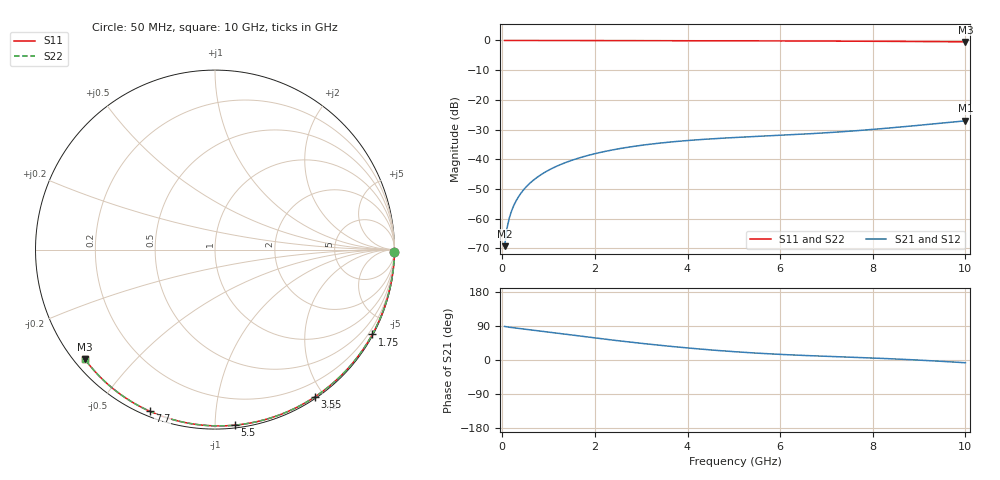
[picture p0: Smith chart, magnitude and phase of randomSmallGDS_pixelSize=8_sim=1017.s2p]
! freq	dB(S11)	phase(S11)	dB(S12)	phase(S12)
!  dB(S21)	phase(S21)	dB(S22)	phase(S22)
!S-par simulation data
#  GHz  S  DB  R 50
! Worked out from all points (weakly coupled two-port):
!   200 points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, 50 MHz to 10 GHz, reference 50 ohm
!   highest |S21| = -27.06 dB at 10 GHz (marker M1); lowest = -69.3 dB at 50 MHz (marker M2)
!   lowest |S11| = -0.5 dB at 10 GHz (marker M3), VSWR 37.32, Z = 1.52 - j18.2 ohm
!   |S11| at or under -10 dB: nowhere
!   |S22| runs from -0.5 to 0.0 dB; largest |S21 - S12| = 0
!   S11 on the Smith chart (normalised r, x): 50 MHz: open; 1.75 GHz: 0.03, -3.96; 3.55 GHz: 0.02, -1.88; 5.5 GHz: 0.02, -1.12; 7.7 GHz: 0.02, -0.67; 10 GHz: 0.03, -0.36
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0.05  -0.00 -0.8  -69.26 88.5  -69.26 88.5  -0.00 -0.8
0.1  -0.00 -1.6  -63.31 87.4  -63.31 87.4  -0.00 -1.6
0.15  -0.00 -2.5  -59.85 86.5  -59.85 86.5  -0.00 -2.5
0.2  -0.00 -3.3  -57.40 85.7  -57.40 85.7  -0.00 -3.3
0.25  -0.00 -4.1  -55.50 85.0  -55.50 85.0  -0.00 -4.1
0.35  -0.00 -5.8  -52.62 83.5  -52.62 83.5  -0.00 -5.8
0.5  -0.01 -8.2  -49.56 81.3  -49.56 81.3  -0.01 -8.2
0.7  -0.01 -11.5  -46.69 78.2  -46.69 78.2  -0.01 -11.5
1  -0.02 -16.3  -43.68 73.5  -43.68 73.5  -0.02 -16.3
1.35  -0.03 -22.0  -41.20 68.0  -41.20 68.0  -0.03 -22.0
1.75  -0.04 -28.3  -39.14 61.9  -39.14 61.9  -0.04 -28.3
2.5  -0.05 -40.1  -36.51 50.9  -36.51 50.9  -0.05 -40.1
3.4  -0.07 -53.7  -34.56 38.9  -34.56 38.9  -0.07 -53.8
3.55  -0.08 -56.0  -34.31 37.0  -34.31 37.0  -0.08 -56.0
4.3  -0.10 -66.9  -33.35 28.6  -33.35 28.6  -0.10 -66.9
5.05  -0.12 -77.5  -32.65 21.6  -32.65 21.6  -0.12 -77.5
5.5  -0.14 -83.6  -32.30 18.1  -32.30 18.1  -0.14 -83.6
6.7  -0.19 -99.4  -31.35 11.1  -31.35 11.1  -0.19 -99.5
7.7  -0.25 -112.1  -30.32 6.6  -30.32 6.6  -0.25 -112.1
8.35  -0.30 -120.0  -29.48 3.5  -29.48 3.5  -0.30 -120.1
9.2  -0.38 -130.3  -28.26 -1.6  -28.26 -1.6  -0.38 -130.3
10  -0.47 -139.9  -27.06 -7.3  -27.06 -7.3  -0.47 -139.9
